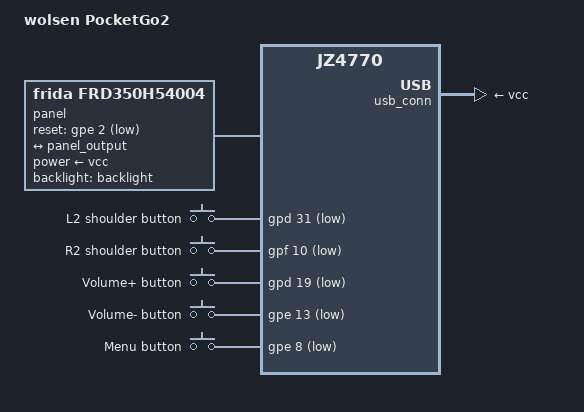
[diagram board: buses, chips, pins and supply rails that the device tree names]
// SPDX-License-Identifier: GPL-2.0
/dts-v1/;

#include "gcw0.dts"

/ {
	compatible = "wolsen,PocketGo2", "ingenic,jz4770";
	model = "wolsen PocketGo2";
	
	panel {
		compatible = "frida,frd350h54004";

		reset-gpios = <&gpe 2 GPIO_ACTIVE_LOW>;

		backlight = <&backlight>;
		power-supply = <&vcc>;

		port {
			frida_input: endpoint {
				remote-endpoint = <&panel_output>;
			};
		};
	};
};

&pins_lcd {
	groups = "lcd-24bit";
};

&panel {
	status = "disabled";
};

/* Make ABT panel port a dummy to avoid DTC complaints */
&panel_input {
	remote-endpoint = <&panel_input>;
};

&panel_output {
	remote-endpoint = <&frida_input>;
};

&btn6 {
	label = "Button X";
};

&btn7 {
	label = "Button Y";
};
&btn8 {
	gpios = <&gpb 20 GPIO_ACTIVE_LOW>;
};

&btn9 {
	gpios = <&gpe 26 GPIO_ACTIVE_LOW>;
};

&pmu {
	charger = <&usb_conn>;
	power-supplies = <&usb_conn>;
};

&usb_conn {
	vbus-supply = <&vcc>;
};

&gpio_keys {
		button@14 {
			label = "L2 shoulder button";
			linux,code = <KEY_PAGEUP>;
			linux,can-disable;
			gpios = <&gpd 31 GPIO_ACTIVE_LOW>;
		};

		button@15 {
			label = "R2 shoulder button";
			linux,code = <KEY_PAGEDOWN>;
			linux,can-disable;
			gpios = <&gpf 10 GPIO_ACTIVE_LOW>;
		};
	
		button@16 {
			label = "Volume+ button";
			linux,code = <KEY_VOLUMEUP>;
			linux,can-disable;
			gpios = <&gpd 19 GPIO_ACTIVE_LOW>;
		};

		button@17 {
			label = "Volume- button";
			linux,code = <KEY_VOLUMEDOWN>;
			linux,can-disable;
			gpios = <&gpe 13 GPIO_ACTIVE_LOW>;
		};
	
		button@18 {
			label = "Menu button";
			linux,code = <KEY_HOME>;
			linux,can-disable;
			gpios = <&gpe 8 GPIO_ACTIVE_LOW>;
		};
};

&i2c4 {
	status = "disabled";
};

&it6610 {
	status = "disabled";
};

&dc_charger {
	status = "disabled";
};

&i2c0 {
	status = "disabled";
};

&radio {
	status = "disabled";
};

&usb_vbus {
	status = "disabled";
};
